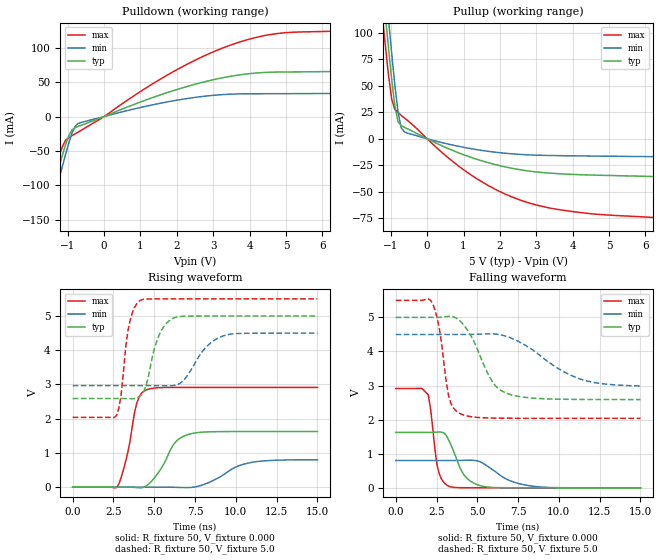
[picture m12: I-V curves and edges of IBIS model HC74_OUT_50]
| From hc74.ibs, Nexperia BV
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|   Model  HC74_OUT_50
[Model]   HC74_OUT_50
Model_type   Output
Polarity   Non-Inverting
Vmeas =  2.5V
Cref  =  5e-11
Rref  =  1e+06
Vref  =  0V
C_comp   1.0351pF   0.6551pF   1.5025pF
[Model Spec]
| Note: The input and output voltage ratings may be exceeded if the input and
|   output current ratings are observed (please refer to the data sheet)
|   Subparameter   typ   min   max
| Timing Thresholds
Vmeas   2.5   2.25   2.75
|Ambient temperature:   25   85   -40
[Temperature Range]   35   95   -30
[Voltage Range]   5.0   4.5   5.5
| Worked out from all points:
|   slope of the pulldown table from 0 to 0.75 V, typ, clamps not added: 46.5 ohm
|   slope of the pullup table from 0 to 0.75 V, typ, clamps not added: 63.8 ohm
|   rising waveform, R_fixture 50, V_fixture 0.000: 20-80 % time 1.18ns typ, 1.83ns min, 716ps max; typ from 0 V to 1.63 V
|   rising waveform, R_fixture 50, V_fixture 5.0: 20-80 % time 820ps typ, 1.36ns min, 519ps max; typ from 2.59 V to 5 V
|   falling waveform, R_fixture 50, V_fixture 0.000: 20-80 % time 936ps typ, 1.68ns min, 446ps max; typ from 1.63 V to 0 V
|   falling waveform, R_fixture 50, V_fixture 5.0: 20-80 % time 1.45ns typ, 2.9ns min, 615ps max; typ from 5 V to 2.59 V
|Process Range   nominal   slow   fast
[Pulldown]
|   voltage   I(typ)   I(min)   I(max)
-5.5V     -916.4mA   -1.026A    -826.1mA
-1.9V     -199.1mA   -231.5mA   -171.4mA
-1.5V     -121.6mA   -145.7mA   -100.9mA
-1.238V   -72.34mA   -90.74mA   -57.04mA
-1.062V   -41.67mA   -55.75mA   -34.8mA
-887.5mV  -19.62mA   -24.9mA    -27.95mA
-800mV    -16.27mA   -14.41mA   -25.22mA
-712.5mV  -14.4mA    -10.06mA   -22.48mA
1.913V    37.87mA    22.98mA    65.57mA
3.663V    60.13mA    32.86mA    107.3mA
5.15V     64.88mA    33.33mA    122.5mA
11V       67.76mA    34.24mA    129.5mA
[Pullup]
|   voltage   I(typ)   I(min)   I(max)
-5.5V     1.838A     1.973A     1.714A
-1.238V   149.5mA    181.4mA    118.4mA
-1.15V    117.2mA    147mA      88.43mA
-1.062V   85.86mA    113.3mA    60.35mA
-975mV    56.34mA    80.87mA    37.46mA
-800mV    16mA       25.24mA    24.68mA
-712.5mV  12.3mA     10.37mA    22.16mA
-625mV    10.75mA    6.399mA    19.73mA
1.125V    -16.64mA   -8.907mA   -32.33mA
2.7V      -30.08mA   -15.1mA    -59.65mA
4.713V    -34.53mA   -16.44mA   -71.54mA
11V       -39.62mA   -18.64mA   -83.08mA
[Ramp]
| variable   typ   min   max
dV/dt_r  9.7574E-01/1.1779E-09  4.8083E-01/1.8252E-09  1.7489E+00/7.1606E-10
dV/dt_f  9.7573E-01/9.3647E-10  4.8121E-01/1.6824E-09  1.7489E+00/4.4646E-10
R_load = 50
[Rising Waveform]
R_fixture   = 50
V_fixture   = 0.000
V_fixture_min = 0.000
V_fixture_max = 0.000
| time   V(typ)   V(min)   V(max)
0s        5.825pV    1.024nV    289fV
2.692ns   32.46uV    -1.969uV   -11.2mV
3.245ns   300.9uV    -2.318uV   749.5mV
3.936ns   -11.12mV   8.067uV    2.467V
4.489ns   32.24mV    31.65uV    2.836V
5.319ns   470.1mV    213.9uV    2.907V
6.287ns   1.309V     -3.504mV   2.914V
7.117ns   1.545V     -11.85mV   2.915V
10.85ns   1.626V     713.1mV    2.915V
15ns      1.626V     801.4mV    2.915V
[Rising Waveform]
R_fixture   = 50
V_fixture   = 5.0
V_fixture_min = 4.5
V_fixture_max = 5.5
| time   V(typ)   V(min)   V(max)
0s        2.59V      2.967V     2.04V
2.692ns   2.59V      2.967V     2.095V
2.968ns   2.59V      2.967V     2.703V
3.245ns   2.589V     2.967V     4.076V
3.521ns   2.586V     2.967V     4.874V
4.213ns   2.692V     2.967V     5.471V
5.181ns   4.307V     2.965V     5.499V
6.149ns   4.932V     2.967V     5.5V
9.191ns   5V         4.411V     5.5V
15ns      5V         4.5V       5.5V
[Falling Waveform]
R_fixture   = 50
V_fixture   = 0.000
V_fixture_min = 0.000
V_fixture_max = 0.000
| time   V(typ)   V(min)   V(max)
0s        1.626V     802.3mV    2.915V
1.6ns     1.626V     802.4mV    2.919V
2ns       1.626V     802.2mV    2.725V
2.553ns   1.635V     802.1mV    621.7mV
2.83ns    1.633V     802.1mV    238mV
3.245ns   1.406V     802.6mV    49.95mV
4.213ns   363.1mV    806.9mV    3.336mV
5.181ns   64.62mV    762.6mV    777.6uV
8.085ns   1.143mV    70.61mV    10.92uV
15ns      2.96uV     278.6uV    434.7pV
[Falling Waveform]
R_fixture   = 50
V_fixture   = 5.0
V_fixture_min = 4.5
V_fixture_max = 5.5
| time   V(typ)   V(min)   V(max)
0s        5V         4.5V       5.5V
2.277ns   5V         4.5V       5.388V
2.692ns   5V         4.5V       4.626V
3.245ns   5.029V     4.5V       2.693V
3.936ns   4.897V     4.5V       2.182V
4.766ns   4.322V     4.502V     2.078V
5.872ns   3.153V     4.516V     2.048V
6.702ns   2.796V     4.455V     2.042V
11.13ns   2.594V     3.223V     2.04V
15ns      2.59V      2.989V     2.04V
